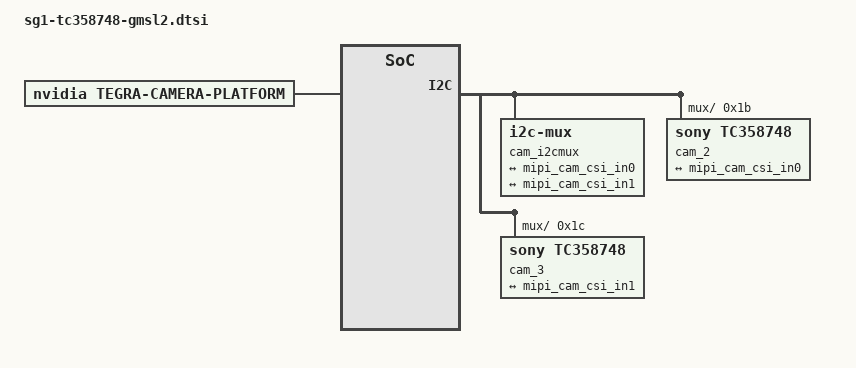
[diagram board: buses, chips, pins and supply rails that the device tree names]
/*
 * Copyright (c) 2022-2023, NVIDIA CORPORATION.  All rights reserved.
 *
 * This program is free software; you can redistribute it and/or modify
 * it under the terms of the GNU General Public License as published by
 * the Free Software Foundation; either version 2 of the License, or
 * (at your option) any later version.
 *
 * This program is distributed in the hope that it will be useful, but WITHOUT
 * ANY WARRANTY; without even the implied warranty of MERCHANTABILITY or
 * FITNESS FOR A PARTICULAR PURPOSE.  See the GNU General Public License for
 * more details.
 *
 * You should have received a copy of the GNU General Public License
 * along with this program.  If not, see <http://www.gnu.org/licenses/>.
 */
#define CAM0_PWDN	TEGRA234_MAIN_GPIO(H, 6)
#define CAM1_PWDN	TEGRA234_MAIN_GPIO(AC, 0)
#define CAM_I2C_MUX 	TEGRA234_AON_GPIO(CC, 3)

/ {
	tegra-capture-vi  {
		num-channels = <2>;
		ports {
			#address-cells = <1>;
			#size-cells = <0>;
			port@0 {
				reg = <0>;
				mipi_cam_vi_in0: endpoint {
					vc-id = <0>;
					port-index = <2>;
					bus-width = <2>;
					remote-endpoint = <&mipi_cam_csi_out0>;
				};
			};
			port@1 {
				reg = <1>;
				mipi_cam_vi_in1: endpoint {
					vc-id = <1>;
					port-index = <2>;
					bus-width = <4>;
					remote-endpoint = <&mipi_cam_csi_out1>;
				};
			};
		};
	};

	host1x@13e00000 {
		nvcsi@15a00000 {
			num-channels = <2>;
			#address-cells = <1>;
			#size-cells = <0>;
			channel@0 {
				reg = <0>;
				ports {
					#address-cells = <1>;
					#size-cells = <0>;
					port@0 {
						reg = <0>;
						mipi_cam_csi_in0: endpoint@0 {
							port-index = <2>;
							bus-width = <2>;
							remote-endpoint = <&mipi_cam_out0>;
						};
					};
					port@1 {
						reg = <1>;
						mipi_cam_csi_out0: endpoint@1 {
							remote-endpoint = <&mipi_cam_vi_in0>;
						};
					};
				};
			};
			channel@1 {
				reg = <1>;
				ports {
					#address-cells = <1>;
					#size-cells = <0>;
					port@0 {
						reg = <0>;
						mipi_cam_csi_in1: endpoint@2 {
							port-index = <2>;
							bus-width = <4>;
							remote-endpoint = <&mipi_cam_out1>;
						};
					};
					port@1 {
						reg = <1>;
						mipi_cam_csi_out1: endpoint@3 {
							remote-endpoint = <&mipi_cam_vi_in1>;
						};
					};
				};
			};
		};
	};

	cam_i2cmux {
		i2c@0 {
			status = "disabled";

			max9296_0@48 {
				status = "disabled";
			};
			max9295_prim_0@40 {
				status = "disabled";
			};
			max9295_0@60 {
				status = "disabled";
			};
			max9295_1@62 {
				status = "disabled";
			};
			cam_0@1b {
				status = "disabled";
			};
			cam_1@1c {
				status = "disabled";
			};
		};

		i2c@1 {
			cam_2@1b {
				compatible = "sony,tc358748";
				reg = <0x1b>;
				def-addr = <0x0e>;
				devnode = "video0";

				/* Physical dimensions of sensor */
				physical_w = "15.0";
				physical_h = "12.5";

				sensor_model ="tc358748";

				/* Defines number of frames to be dropped by driver internally after applying */
				/* sensor crop settings. Some sensors send corrupt frames after applying */
				/* crop co-ordinates */
				post_crop_frame_drop = "0";

				/* Convert Gain to unit of dB (decibel) befor passing to kernel driver */
				use_decibel_gain = "false";

				/* enable CID_SENSOR_MODE_ID for sensor modes selection */
				use_sensor_mode_id = "true";
				mode0 { /* tc358748_MODE_720x576_50FPS */
					vc_id = "0";
					serdes_pix_clk_hz = "400000000";
					mclk_multiplier = "9.33";
					dynamic_pixel_bit_depth = "16";
					csi_pixel_bit_depth = "16";
					mclk_khz = "24000";
					num_lanes = "2";
					tegra_sinterface = "serial_a";
					phy_mode = "DPHY";
					discontinuous_clk = "no";
					dpcm_enable = "false";
					cil_settletime = "0";

					active_w = "720";
					active_h = "576";
					mode_type="yuv";
					pixel_phase = "uyvy";
					readout_orientation = "0";
					line_length = "2200";
					inherent_gain = "1";
					pix_clk_hz = "75000000";

					gain_factor = "16";
					framerate_factor = "1000000";
					exposure_factor = "1000000";
					min_gain_val = "16"; /* 1.00x */
					max_gain_val = "170"; /* 10.66x */
					step_gain_val = "1";
					default_gain = "16"; /* 1.00x */
					min_hdr_ratio = "1";
					max_hdr_ratio = "1";
					min_framerate = "2000000"; /* 2.0 fps */
					max_framerate = "50000000"; /* 50.0 fps */
					step_framerate = "1";
					default_framerate = "50000000"; /* 50.0 fps */
					min_exp_time = "13"; /* us */
					max_exp_time = "683709"; /* us */
					step_exp_time = "1";
					default_exp_time = "2495"; /* us */

					embedded_metadata_height = "0";
				};
				mode1 { /* tc358748_MODE_720x288_50FPS */
					vc_id = "0";
					serdes_pix_clk_hz = "400000000";
					mclk_multiplier = "9.33";
					dynamic_pixel_bit_depth = "16";
					csi_pixel_bit_depth = "16";
					mclk_khz = "24000";
					num_lanes = "2";
					tegra_sinterface = "serial_a";
					phy_mode = "DPHY";
					discontinuous_clk = "no";
					dpcm_enable = "false";
					cil_settletime = "0";

					active_w = "720";
					active_h = "288";
					mode_type="yuv";
					pixel_phase = "uyvy";
					readout_orientation = "0";
					line_length = "2200";
					inherent_gain = "1";
					pix_clk_hz = "15625000";

					gain_factor = "16";
					framerate_factor = "1000000";
					exposure_factor = "1000000";
					min_gain_val = "16"; /* 1.00x */
					max_gain_val = "170"; /* 10.66x */
					step_gain_val = "1";
					default_gain = "16"; /* 1.00x */
					min_hdr_ratio = "1";
					max_hdr_ratio = "1";
					min_framerate = "2000000"; /* 2.0 fps */
					max_framerate = "50000000"; /* 50.0 fps */
					step_framerate = "1";
					default_framerate = "50000000"; /* 50.0 fps */
					min_exp_time = "13"; /* us */
					max_exp_time = "683709"; /* us */
					step_exp_time = "1";
					default_exp_time = "2495"; /* us */

					embedded_metadata_height = "0";
				};
				mode2 { /* tc358748_MODE_768x576_50FPS */
					vc_id = "0";
					serdes_pix_clk_hz = "400000000";
					mclk_multiplier = "9.33";
					dynamic_pixel_bit_depth = "16";
					csi_pixel_bit_depth = "16";
					mclk_khz = "24000";
					num_lanes = "2";
					tegra_sinterface = "serial_a";
					phy_mode = "DPHY";
					discontinuous_clk = "no";
					dpcm_enable = "false";
					cil_settletime = "0";

					active_w = "768";
					active_h = "576";
					mode_type="yuv";
					pixel_phase = "uyvy";
					readout_orientation = "0";
					line_length = "2200";
					inherent_gain = "1";
					pix_clk_hz = "75000000";

					gain_factor = "16";
					framerate_factor = "1000000";
					exposure_factor = "1000000";
					min_gain_val = "16"; /* 1.00x */
					max_gain_val = "170"; /* 10.66x */
					step_gain_val = "1";
					default_gain = "16"; /* 1.00x */
					min_hdr_ratio = "1";
					max_hdr_ratio = "1";
					min_framerate = "2000000"; /* 2.0 fps */
					max_framerate = "50000000"; /* 50.0 fps */
					step_framerate = "1";
					default_framerate = "50000000"; /* 50.0 fps */
					min_exp_time = "13"; /* us */
					max_exp_time = "683709"; /* us */
					step_exp_time = "1";
					default_exp_time = "2495"; /* us */

					embedded_metadata_height = "0";
				};
				mode3 { /* tc358748_MODE_640x512_50FPS */
					vc_id = "0";
					serdes_pix_clk_hz = "400000000";
					mclk_multiplier = "9.33";
					dynamic_pixel_bit_depth = "16";
					csi_pixel_bit_depth = "16";
					mclk_khz = "24000";
					num_lanes = "2";
					tegra_sinterface = "serial_a";
					phy_mode = "DPHY";
					discontinuous_clk = "no";
					dpcm_enable = "false";
					cil_settletime = "0";

					active_w = "640";
					active_h = "512";
					mode_type="yuv";
					pixel_phase = "uyvy";
					readout_orientation = "0";
					line_length = "2200";
					inherent_gain = "1";
					pix_clk_hz = "75000000";

					gain_factor = "16";
					framerate_factor = "1000000";
					exposure_factor = "1000000";
					min_gain_val = "16"; /* 1.00x */
					max_gain_val = "170"; /* 10.66x */
					step_gain_val = "1";
					default_gain = "16"; /* 1.00x */
					min_hdr_ratio = "1";
					max_hdr_ratio = "1";
					min_framerate = "2000000"; /* 2.0 fps */
					max_framerate = "50000000"; /* 50.0 fps */
					step_framerate = "1";
					default_framerate = "50000000"; /* 50.0 fps */
					min_exp_time = "13"; /* us */
					max_exp_time = "683709"; /* us */
					step_exp_time = "1";
					default_exp_time = "2495"; /* us */

					embedded_metadata_height = "0";
				};
				ports {
					#address-cells = <1>;
					#size-cells = <0>;

					port@0 {
						reg = <0>;
						mipi_cam_out0: endpoint {
							vc-id = <0>;
							port-index = <2>;
							bus-width = <2>;
							remote-endpoint = <&mipi_cam_csi_in0>;
						};
					};
				};	
				gmsl-link {
					src-csi-port = "b";
					dst-csi-port = "a";
					serdes-csi-link = "a";
					csi-mode = "1x4";
					st-vc = <0>;
					vc-id = <0>;
					num-lanes = <2>;
					streams = "yuv16";
				};
			};
			cam_3@1c {
				compatible = "sony,tc358748";
				reg = <0x1c>;
				def-addr = <0x0e>;
				devnode = "video1";

				/* Physical dimensions of sensor */
				physical_w = "15.0";
				physical_h = "12.5";

				sensor_model ="tc358748";

				/* Defines number of frames to be dropped by driver internally after applying */
				/* sensor crop settings. Some sensors send corrupt frames after applying */
				/* crop co-ordinates */
				post_crop_frame_drop = "0";

				/* Convert Gain to unit of dB (decibel) befor passing to kernel driver */
				use_decibel_gain = "false";

				/* enable CID_SENSOR_MODE_ID for sensor modes selection */
				use_sensor_mode_id = "true";
				
				mode0 {/*mode SENSOR_MODE_1920X1080_CROP_30FPS*/
					mclk_khz = "24000";
					num_lanes = "2";
					tegra_sinterface = "serial_a";
					vc_id = "1";
					discontinuous_clk = "no";
					dpcm_enable = "false";
					cil_settletime = "0";
					lane_polarity = "6";
					dynamic_pixel_bit_depth = "12";
					csi_pixel_bit_depth = "12";
					mode_type = "bayer";
					pixel_phase = "grbg";

					active_w = "1824";
					active_h = "940";
					readout_orientation = "0";
					line_length = "4450";
					inherent_gain = "1";
					pix_clk_hz = "82944000"; //active_w * active_h * 30fps
					serdes_pix_clk_hz = "324000000";

					gain_factor = "10000";
					min_gain_val = "10000";
					max_gain_val = "77500";
					step_gain_val = "625";
					default_gain = "10000";
					min_hdr_ratio = "1";
					max_hdr_ratio = "1";
					framerate_factor = "1000000";
					min_framerate = "30000000";
					max_framerate = "30000000";
					step_framerate = "1";
					default_framerate = "30000000";
					exposure_factor = "1000000";
					min_exp_time = "30"; 
					max_exp_time = "20000"; 
					step_exp_time = "1";
					default_exp_time = "10000";
					embedded_metadata_height = "0";
				};
				ports {
					#address-cells = <1>;
					#size-cells = <0>;

					port@0 {
						reg = <0>;
						mipi_cam_out1: endpoint {
							vc-id = <1>;
							port-index = <2>;
							bus-width = <2>;
							remote-endpoint = <&mipi_cam_csi_in1>;
						};
					};
				};	
				gmsl-link {
					src-csi-port = "b";
					dst-csi-port = "a";
					serdes-csi-link = "b";
					csi-mode = "1x4";
					st-vc = <0>;
					vc-id = <1>;
					num-lanes = <2>;
					streams = "yuv16";
				};
			};
		};
	};
};

/ {

	tegra-camera-platform {
		compatible = "nvidia, tegra-camera-platform";

		/**
		* Physical settings to calculate max ISO BW
		*
		* num_csi_lanes = <>;
		* Total number of CSI lanes when all cameras are active
		*
		* max_lane_speed = <>;
		* Max lane speed in Kbit/s
		*
		* min_bits_per_pixel = <>;
		* Min bits per pixel
		*
		* vi_peak_byte_per_pixel = <>;
		* Max byte per pixel for the VI ISO case
		*
		* vi_bw_margin_pct = <>;
		* Vi bandwidth margin in percentage
		*
		* max_pixel_rate = <>;
		* Max pixel rate in Kpixel/s for the ISP ISO case
		*
		* isp_peak_byte_per_pixel = <>;
		* Max byte per pixel for the ISP ISO case
		*
		* isp_bw_margin_pct = <>;
		* Isp bandwidth margin in percentage
		*/
		num_csi_lanes = <8>;
		max_lane_speed = <2500000>;
		min_bits_per_pixel = <10>;
		vi_peak_byte_per_pixel = <2>;
		vi_bw_margin_pct = <25>;
		max_pixel_rate = <7500000>;
		isp_peak_byte_per_pixel = <5>;
		isp_bw_margin_pct = <25>;

		/**
		 * The general guideline for naming badge_info contains 3 parts, and is as follows,
		 * The first part is the camera_board_id for the module; if the module is in a FFD
		 * platform, then use the platform name for this part.
		 * The second part contains the position of the module, ex. "rear" or "front".
		 * The third part contains the last 6 characters of a part number which is found
		 * in the module's specsheet from the vendor.
		 */
		modules {
			module0 {
				badge = "cam0_front";
				position = "front";
				orientation = "1";
				drivernode0 {
					pcl_id = "v4l2_sensor";
					devname = "tc358748 9-001b";
					proc-device-tree = "/proc/device-tree/cam_i2cmux/i2c@1/cam_0@1b";
				};
			};
			module1 {
				badge = "cam1_rear";
				position = "rear";
				orientation = "1";
				drivernode0 {
					pcl_id = "v4l2_sensor";
					devname = "tc358748 9-001c";
					proc-device-tree = "/proc/device-tree/cam_i2cmux/i2c@1/cam_1@1c";
				};
			};
		};
	};
};
